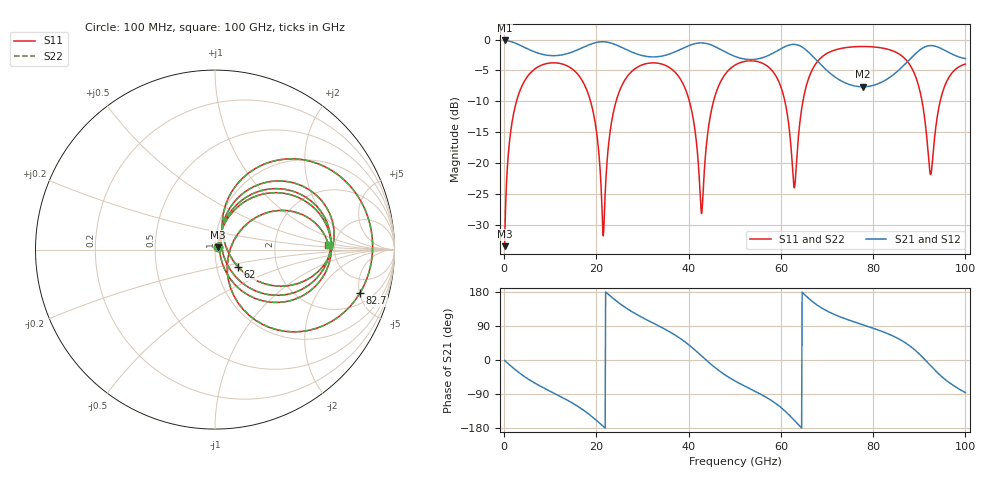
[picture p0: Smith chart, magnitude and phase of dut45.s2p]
! Touchstone file exported from HFSS 2026.1.0
!  File:  C:/ffzhzh/LocalFiles/Ansys_Project_Files/temp_train_TSV_RDL_45_1783620196_33328.aedt
!  Generated:  02:11:08 AM Jul 10, 2026
!  Design:  TSV_RDL
!  Project:  temp_train_TSV_RDL_45_1783620196_33328
! Variables:
!  h_bsmrdl = 2.15um
!  h_ox = 20um
!  h_rdl = 5um
!  h_sub = 62.87um
!  h_tmrdl = 4.98um
!  h_tsv = 62.87um
!  h_via = 3um
!  l_bsmrdl = 214.76um
!  l_sub = 2828.41um
!  l_tmrdl = 422.58um
!  m_sub = 200um
!  pitch = 56.22um
!  r_tsv = 8.11um
!  s_tmrdl = 10um
!  w_bsmrdl = 18.5um
!  w_sub = 500um
!  w_tmrdl = 12.77um
!  x_tsv_center1 = 428.965um
!  x_tsv_center2 = 662.225um
!  x_tsv_center3 = 1097.575um
!  x_tsv_center4 = 1330.835um
!  x_tsv_center5 = 1766.185um
!  x_tsv_center6 = 1999.445um
# GHz S MA R 50.000000
! Terminal data exported
! Port[1] = TM_RDL1_1_T1
! Port[2] = TM_RDL5_1_T1
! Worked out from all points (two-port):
!   1000 points, 100 MHz to 100 GHz, reference 50 ohm
!   highest |S21| = -0.14 dB at 100 MHz (marker M1); lowest = -7.6 dB at 77.7 GHz (marker M2)
!   |S21| within 3 dB of the highest: start of sweep to 52.01 GHz; 54.9 GHz to 67.47 GHz (12.56 GHz wide, 20.5 % of centre) (the widest 2 of 3)
!   lowest |S11| = -33.5 dB at 100 MHz (marker M3), VSWR 1.04, Z = 51.7 + j1.35 ohm
!   |S11| at or under -10 dB: 18.73 GHz to 24.27 GHz (5.538 GHz wide, 25.8 % of centre); 40.17 GHz to 45.39 GHz (5.226 GHz wide, 12.2 % of centre); 60.86 GHz to 64.77 GHz (3.909 GHz wide, 6.22 % of centre) (the widest 3 of 5)
!   |S22| runs from -33.5 to -1.1 dB; largest |S21 - S12| = 3.2e-13
!   S11 on the Smith chart (normalised r, x): 100 MHz: 1.03, +0.03; 62 GHz: 1.27, -0.25; 82.7 GHz: 3.04, -5.07; 100 GHz: 4.41, +0.39
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0.1  0.0212 38.1  0.9835 -1.1  0.9835 -1.1  0.0212 38.1
! Gamma 0 0 0 0
! Port Impedance 50 0 50 0
1.5  0.1893 67.7  0.9622 -16.3  0.9622 -16.3  0.1893 67.7
4.2  0.4463 45.1  0.8723 -42.0  0.8723 -42.0  0.4463 45.1
16.8  0.4736 -38.2  0.8537 -129.0  0.8537 -129.0  0.4736 -38.1
21.5  0.02566 5.4  0.9597 -175.1  0.9597 -175.1  0.02588 5.5
24.9  0.3737 56.1  0.8843 150.5  0.8843 150.5  0.3738 56.1
33.4  0.6428 0.3  0.7274 90.6  0.7274 90.6  0.6428 0.3
39.7  0.3612 -42.5  0.8821 43.3  0.8821 43.3  0.3613 -42.4
42.8  0.03895 9.3  0.9402 10.8  0.9402 10.8  0.03973 9.3
45.4  0.3169 66.0  0.8881 -16.9  0.8881 -16.9  0.317 65.9
50.1  0.6224 32.3  0.7291 -55.6  0.7291 -55.6  0.6224 32.3
58.4  0.5423 -17.7  0.7799 -110.6  0.7799 -110.6  0.5423 -17.6
62  0.1619 -37.0  0.9072 -147.7  0.9072 -147.7  0.1623 -36.5
63  0.06464 31.5  0.9137 -160.3  0.9137 -160.3  0.06618 31.3
66.7  0.5598 59.2  0.7452 155.6  0.7452 155.6  0.5601 59.1
77.7  0.8785 3.0  0.4145 93.3  0.4145 93.3  0.8785 3.0
82.7  0.8432 -16.6  0.47 71.9  0.47 71.9  0.8432 -16.6
83.4  0.8302 -19.8  0.4882 68.3  0.4882 68.3  0.8303 -19.8
89.3  0.4906 -57.8  0.776 23.7  0.776 23.7  0.4908 -57.6
92.5  0.08069 -10.0  0.894 -15.8  0.894 -15.8  0.08288 -10.0
95.3  0.3995 32.8  0.8266 -48.3  0.8266 -48.3  0.4001 32.5
100  0.6328 2.4  0.7015 -86.2  0.7015 -86.2  0.6331 2.3
